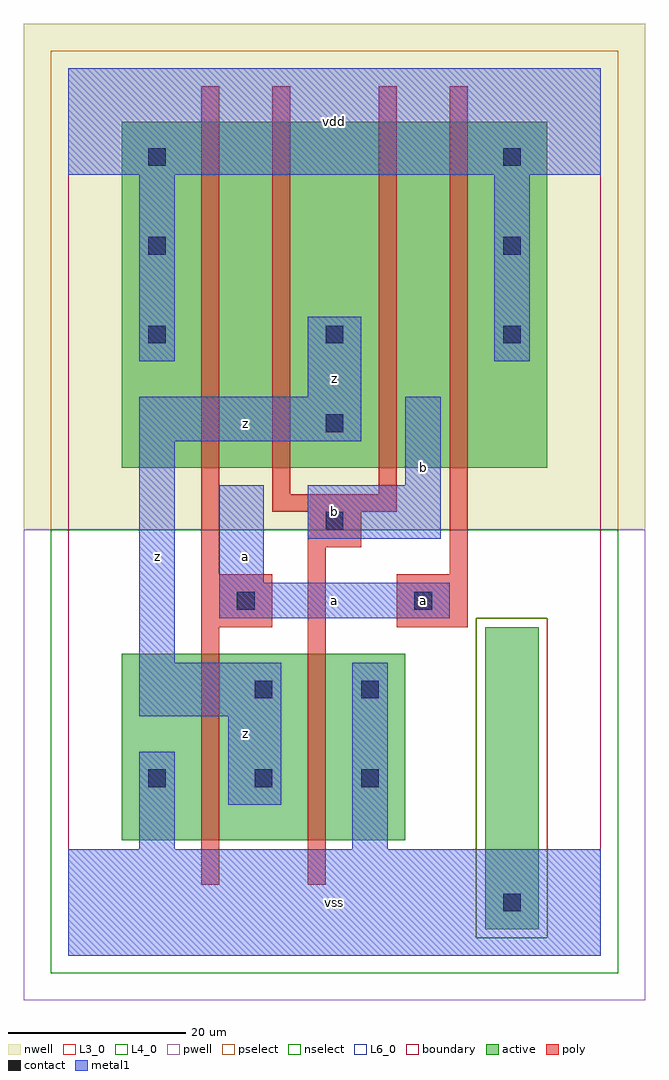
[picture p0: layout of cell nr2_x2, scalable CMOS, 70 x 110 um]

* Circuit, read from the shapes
.subckt nr2_x2 a b vdd vss z
M1 z a vss vss nfet w=21u l=2u
M2 vss b z vss nfet w=21u l=2u
M3 n1 a vdd n2 pfet w=39u l=2u
M4 z b n1 n2 pfet w=39u l=2u
M5 n3 b z n2 pfet w=39u l=2u
M6 vdd a n3 n2 pfet w=39u l=2u
.ends

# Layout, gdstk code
import gdstk
lib = gdstk.Library(unit=1e-6, precision=1e-09)
def R(c, l, rs):  # rectangles x0, y0, x1, y1
    for r in rs: c.add(gdstk.rectangle(r[:2], r[2:], *l))
def A(c, l, x, y, w, h, nx, ny, dx, dy):  # array of equal rectangles
    R(c, l, [(x+i*dx, y+j*dy, x+i*dx+w, y+j*dy+h) for i in range(nx) for j in range(ny)])
L3_0 = (3, 0)
L4_0 = (4, 0)
L6_0 = (6, 0)
contact = (25, 0)
pwell = (41, 0)
nwell = (42, 0)
active = (43, 0)
pselect = (44, 0)
nselect = (45, 0)
poly = (46, 0)
metal1 = (49, 0)
boundary = (63, 0)

nr2_x2 = lib.new_cell('nr2_x2')
R(nr2_x2, L3_0, [(6,13,38,34)])
R(nr2_x2, L4_0, [(6,55,54,94)])
R(nr2_x2, L6_0, [(47,3,53,37)])
A(nr2_x2, contact, 9, 19, 2, 2, 3, 1, 12, 0)
A(nr2_x2, contact, 9, 69, 2, 2, 3, 1, 20, 0)
R(nr2_x2, contact, [(49,5,51,7), (21,29,23,31), (33,29,35,31), (19,39,21,41), (39,39,41,41), (29,48,31,50), (29,59,31,61), (9,79,11,81), (49,79,51,81), (9,89,11,91), (49,89,51,91)])
R(nr2_x2, pwell, [(-5,-5,65,48)])
R(nr2_x2, nwell, [(-5,48,65,105)])
R(nr2_x2, active, [(47,3,53,37), (6,13,38,34), (6,55,54,94)])
R(nr2_x2, pselect, [(46,2,54,38), (-2,48,62,102)])
R(nr2_x2, nselect, [(-2,-2,62,2), (-2,2,46,38), (54,2,62,38), (-2,38,62,48)])
R(nr2_x2, poly, [(15,8,17,37), (27,8,29,46), (15,37,23,43), (37,37,45,43), (15,43,17,98), (43,43,45,98), (27,46,33,50), (23,50,37,52), (23,52,25,98), (35,52,37,98)])
R(nr2_x2, metal1, [(0,0,60,12), (8,12,12,23), (32,12,36,33), (18,17,24,27), (8,27,24,33), (8,33,12,58), (17,38,43,42), (17,42,22,53), (27,47,42,53), (38,53,42,63), (8,58,33,63), (27,63,33,72), (8,67,12,88), (48,67,52,88), (0,88,60,100)])
R(nr2_x2, boundary, [(0,0,60,100)])
nr2_x2.add(gdstk.Label('z', (10,45), layer=49, texttype=0))
nr2_x2.add(gdstk.Label('z', (20,25), layer=49, texttype=0))
nr2_x2.add(gdstk.Label('a', (20,45), layer=49, texttype=0))
nr2_x2.add(gdstk.Label('z', (20,60), layer=49, texttype=0))
nr2_x2.add(gdstk.Label('vss', (30,6), layer=49, texttype=0))
nr2_x2.add(gdstk.Label('a', (30,40), layer=49, texttype=0))
nr2_x2.add(gdstk.Label('a', (40,40), layer=49, texttype=0))
nr2_x2.add(gdstk.Label('b', (30,50), layer=49, texttype=0))
nr2_x2.add(gdstk.Label('z', (30,65), layer=49, texttype=0))
nr2_x2.add(gdstk.Label('b', (40,55), layer=49, texttype=0))
nr2_x2.add(gdstk.Label('vdd', (30,94), layer=49, texttype=0))

lib.write_gds('nr2_x2.gds')
